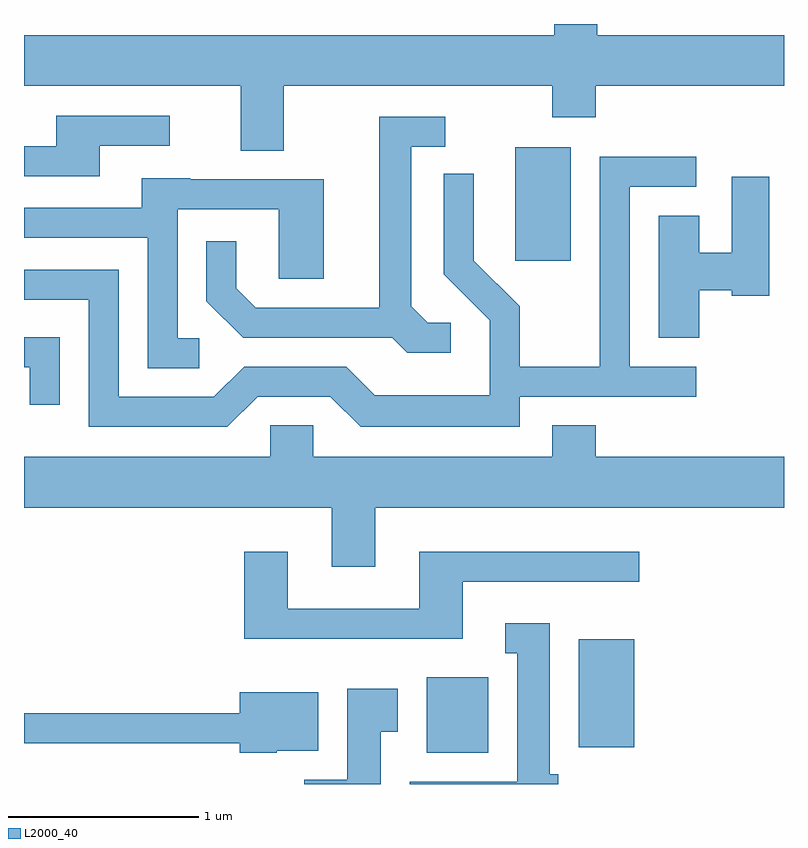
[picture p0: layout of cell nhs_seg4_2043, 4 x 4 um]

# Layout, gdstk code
import gdstk
lib = gdstk.Library(unit=1e-6, precision=1e-09)
def R(c, l, rs):  # rectangles x0, y0, x1, y1
    for r in rs: c.add(gdstk.rectangle(r[:2], r[2:], *l))
def P(c, l, *ps):  # polygons
    for p in ps: c.add(gdstk.Polygon(p, *l))
L2000_40 = (2000, 40)

nhs_seg4_2043 = lib.new_cell('nhs_seg4_2043')
R(nhs_seg4_2043, L2000_40, [(247.731,1260.146,248.054,1260.544), (248.531,1260.176,248.824,1260.744), (248.196,1262.736,248.489,1263.334)])
P(nhs_seg4_2043, L2000_40, [(246.979,1263.656),(248.391,1263.656),(248.391,1263.491),(248.619,1263.491),(248.619,1263.656),(249.611,1263.656),(249.611,1263.924),(248.629,1263.924),(248.629,1263.982),(248.401,1263.982),(248.401,1263.924),(245.611,1263.924),(245.611,1263.656),(246.751,1263.656),(246.751,1263.316),(246.979,1263.316)],
  [(246.009,1263.341),(246.378,1263.341),(246.378,1263.499),(245.781,1263.499),(245.781,1263.339),(245.611,1263.339),(245.611,1263.181),(246.009,1263.181)],
  [(247.858,1262.409),(247.737,1262.409),(247.649,1262.497),(247.649,1263.336),(247.828,1263.336),(247.828,1263.494),(247.481,1263.494),(247.481,1262.489),(246.832,1262.489),(246.729,1262.592),(246.729,1262.838),(246.571,1262.838),(246.571,1262.524),(246.764,1262.331),(247.549,1262.331),(247.629,1262.251),(247.858,1262.251)],
  [(246.842,1262.021),(247.224,1262.021),(247.384,1261.861),(248.219,1261.861),(248.219,1262.021),(249.148,1262.021),(249.148,1262.179),(248.799,1262.179),(248.799,1263.126),(249.148,1263.126),(249.148,1263.284),(248.641,1263.284),(248.641,1262.179),(248.219,1262.179),(248.219,1262.497),(247.979,1262.737),(247.979,1263.193),(247.821,1263.193),(247.821,1262.664),(248.061,1262.424),(248.061,1262.029),(247.457,1262.029),(247.307,1262.179),(246.769,1262.179),(246.609,1262.019),(246.109,1262.019),(246.109,1262.689),(245.611,1262.689),(245.611,1262.531),(245.951,1262.531),(245.951,1261.861),(246.682,1261.861)],
  [(249.164,1262.581),(249.336,1262.581),(249.336,1262.551),(249.534,1262.551),(249.534,1263.179),(249.336,1263.179),(249.336,1262.779),(249.164,1262.779),(249.164,1262.974),(248.951,1262.974),(248.951,1262.331),(249.164,1262.331)],
  [(246.533,1262.329),(246.419,1262.329),(246.419,1263.006),(246.951,1263.006),(246.951,1262.641),(247.189,1262.641),(247.189,1263.164),(246.485,1263.164),(246.485,1263.169),(246.231,1263.169),(246.231,1263.014),(245.611,1263.014),(245.611,1262.856),(246.261,1262.856),(246.261,1262.171),(246.533,1262.171)],
  [(245.799,1262.334),(245.611,1262.334),(245.611,1262.176),(245.641,1262.176),(245.641,1261.978),(245.799,1261.978)],
  [(247.459,1261.436),(249.611,1261.436),(249.611,1261.704),(248.619,1261.704),(248.619,1261.869),(248.391,1261.869),(248.391,1261.704),(247.134,1261.704),(247.134,1261.869),(246.906,1261.869),(246.906,1261.704),(245.611,1261.704),(245.611,1261.436),(247.231,1261.436),(247.231,1261.126),(247.459,1261.126)],
  [(247.919,1261.046),(248.848,1261.046),(248.848,1261.204),(247.691,1261.204),(247.691,1260.904),(246.999,1260.904),(246.999,1261.204),(246.771,1261.204),(246.771,1260.746),(247.919,1260.746)],
  [(248.424,1260.034),(248.379,1260.034),(248.379,1260.829),(248.143,1260.829),(248.143,1260.671),(248.206,1260.671),(248.206,1259.994),(247.641,1259.994),(247.641,1259.982),(248.424,1259.982)],
  [(247.489,1260.256),(247.579,1260.256),(247.579,1260.484),(247.311,1260.484),(247.311,1260.004),(247.086,1260.004),(247.086,1259.982),(247.489,1259.982)],
  [(246.94,1260.156),(247.159,1260.156),(247.159,1260.464),(246.746,1260.464),(246.746,1260.354),(245.611,1260.354),(245.611,1260.196),(246.746,1260.196),(246.746,1260.146),(246.94,1260.146)])

lib.write_gds('nhs_seg4_2043.gds')
